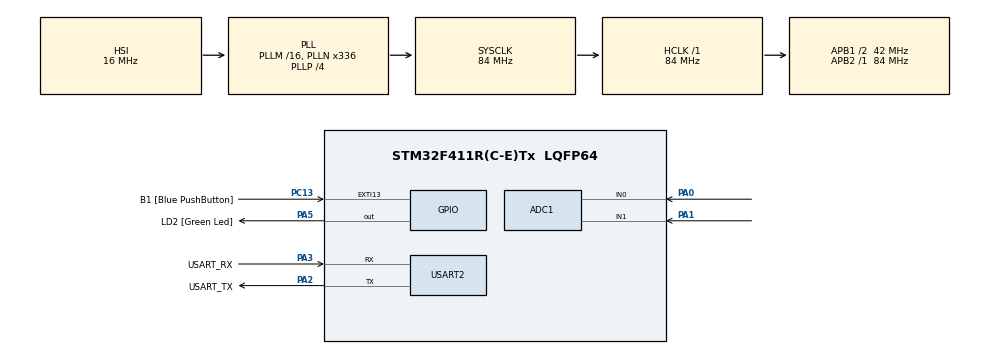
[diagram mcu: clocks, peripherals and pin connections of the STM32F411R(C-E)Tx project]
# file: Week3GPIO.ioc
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Mcu.Family=STM32F4
PC15-OSC32_OUT.Mode=LSE-External-Oscillator
RCC.CortexFreq_Value=84000000
ADC1.Rank-0\#ChannelRegularConversion=1
VP_ADC1_TempSens_Input.Mode=IN-TempSens
PC13-ANTI_TAMP.GPIO_Label=B1 [Blue PushButton]
PA14.GPIO_Label=TCK
PH1\ -\ OSC_OUT.Mode=HSE-External-Clock-Source
RCC.APB1CLKDivider=RCC_HCLK_DIV2
PC14-OSC32_IN.Signal=RCC_OSC32_IN
RCC.SYSCLKSource=RCC_SYSCLKSOURCE_PLLCLK
ProjectManager.StackSize=0x400
PA0-WKUP.Signal=ADCx_IN0
PA13.Signal=SYS_JTMS-SWDIO
PA3.Mode=Asynchronous
PH0\ -\ OSC_IN.Mode=HSE-External-Clock-Source
PH0\ -\ OSC_IN.Signal=RCC_OSC_IN
ProjectManager.TargetToolchain=STM32CubeIDE
RCC.HCLKFreq_Value=84000000
RCC.APB2TimFreq_Value=84000000
PC15-OSC32_OUT.Signal=RCC_OSC32_OUT
PA1.Signal=ADCx_IN1
RCC.AHBFreq_Value=84000000
PA5.Signal=GPIO_Output
ADC1.Channel-0\#ChannelRegularConversion=ADC_CHANNEL_0
RCC.HSE_VALUE=8000000
PH1\ -\ OSC_OUT.Signal=RCC_OSC_OUT
board=NUCLEO-F411RE
PC13-ANTI_TAMP.Signal=GPXTI13
RCC.VCOOutputFreq_Value=336000000
RCC.APB2Freq_Value=84000000
PC14-OSC32_IN.Mode=LSE-External-Oscillator
PA14.Mode=Serial_Wire
SH.ADCx_IN0.0=ADC1_IN0,IN0
PA13.Mode=Serial_Wire
Mcu.Name=STM32F411R(C-E)Tx
ADC1.SamplingTime-0\#ChannelRegularConversion=ADC_SAMPLETIME_3CYCLES
PA2.Signal=USART2_TX
PA13.GPIO_Label=TMS
RCC.FLatency-AdvancedSettings=FLASH_LATENCY_2
RCC.48MHZClocksFreq_Value=84000000
PB3.Signal=SYS_JTDO-SWO
RCC.SYSCLKFreq_VALUE=84000000
Mcu.Package=LQFP64
ADC1.master=1
PA5.GPIO_Label=LD2 [Green Led]
USART2.VirtualMode=VM_ASYNC
PC13-ANTI_TAMP.GPIO_ModeDefaultEXTI=GPIO_MODE_IT_FALLING
PA2.GPIO_Label=USART_TX
PA14.Signal=SYS_JTCK-SWCLK
ProjectManager.HeapSize=0x200
RCC.HSI_VALUE=16000000
RCC.PLLP=RCC_PLLP_DIV4
NVIC.PriorityGroup=NVIC_PRIORITYGROUP_0
ADC1.NbrOfConversionFlag=1
SH.ADCx_IN1.0=ADC1_IN1,IN1
RCC.PLLN=336
RCC.APB1TimFreq_Value=84000000
PA2.Mode=Asynchronous
RCC.APB1Freq_Value=42000000
PA3.GPIO_Label=USART_RX
PA3.Signal=USART2_RX
PB3.GPIO_Label=SWO

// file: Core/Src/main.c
/* USER CODE BEGIN Header */
/**
  ******************************************************************************
  * @file           : main.c
  * @brief          : Main program body
  ******************************************************************************
  * @attention
  *
  * <h2><center>&copy; Copyright (c) 2021 STMicroelectronics.
  * All rights reserved.</center></h2>
  *
  * This software component is licensed by ST under BSD 3-Clause license,
  * the "License"; You may not use this file except in compliance with the
  * License. You may obtain a copy of the License at:
  *                        opensource.org/licenses/BSD-3-Clause
  *
  ******************************************************************************
  */
/* USER CODE END Header */
#include "main.h"

ADC_HandleTypeDef hadc1;

UART_HandleTypeDef huart2;

/* USER CODE BEGIN PV */
typedef struct
{
	ADC_ChannelConfTypeDef Config;
	uint32_t Data;
} ADCStructure;

GPIO_PinState ButtonState[2] = {0};
ADCStructure ADCChannel[2] ={0};
float ADCOutputConverted = 0;
int ADCMode = 0;

/* USER CODE END PV */

void SystemClock_Config(void);
static void MX_GPIO_Init(void);
static void MX_USART2_UART_Init(void);
static void MX_ADC1_Init(void);
/* USER CODE BEGIN PFP */
void ADCPollingMethodInit();   //Init Config of ADC 3 Scouce
void ADCPollingMethodUpdate(int i); //Read ADC From 3 Source(In0,In1,Temp)
/* USER CODE END PFP */

int main(void)
{

  /* MCU Configuration--------------------------------------------------------*/

  /* Reset of all peripherals, Initializes the Flash interface and the Systick. */
  HAL_Init();

  /* Configure the system clock */
  SystemClock_Config();

  /* Initialize all configured peripherals */
  MX_GPIO_Init();
  MX_USART2_UART_Init();
  MX_ADC1_Init();
  /* USER CODE BEGIN 2 */
  ADCPollingMethodInit();

  float VoltageRef = 0;

  /* USER CODE END 2 */

  /* Infinite loop */
  /* USER CODE BEGIN WHILE */
  while (1)
  {
	  //Button Press
	  ButtonState[0] = HAL_GPIO_ReadPin(GPIOC, GPIO_PIN_13);
	  if(ButtonState[0] == GPIO_PIN_RESET && ButtonState[1] == GPIO_PIN_SET)
	  {
		  if(ADCMode == 1)
		  {
			  ADCMode = 0;
			  ADCChannel[1].Data = 0;
		  }
		  else
		  {
			  ADCMode = 1;
			  ADCChannel[0].Data = 0;
		  }
	  }
	  ButtonState[1] = ButtonState[0];
	  //read analog
	  ADCPollingMethodUpdate(ADCMode);
    /* USER CODE END WHILE */

    /* USER CODE BEGIN 3 */
	  //Voltage calculation from ADC resolution
	  VoltageRef = ADCChannel[ADCMode].Data *0.80566; //3300/4096
	  //Output
	  if(ADCMode == 0)
	  {
		  ADCOutputConverted = VoltageRef;
	  }
	  else
	  {
		  ADCOutputConverted = ((VoltageRef - 760.0)/2.5) + 25.0;
	  }
  }
  /* USER CODE END 3 */
}

void SystemClock_Config(void)
{
  RCC_OscInitTypeDef RCC_OscInitStruct = {0};
  RCC_ClkInitTypeDef RCC_ClkInitStruct = {0};

  /** Configure the main internal regulator output voltage
  */
  __HAL_RCC_PWR_CLK_ENABLE();
  __HAL_PWR_VOLTAGESCALING_CONFIG(PWR_REGULATOR_VOLTAGE_SCALE1);
  /** Initializes the RCC Oscillators according to the specified parameters
  * in the RCC_OscInitTypeDef structure.
  */
  RCC_OscInitStruct.OscillatorType = RCC_OSCILLATORTYPE_HSI;
  RCC_OscInitStruct.HSIState = RCC_HSI_ON;
  RCC_OscInitStruct.HSICalibrationValue = RCC_HSICALIBRATION_DEFAULT;
  RCC_OscInitStruct.PLL.PLLState = RCC_PLL_ON;
  RCC_OscInitStruct.PLL.PLLSource = RCC_PLLSOURCE_HSI;
  RCC_OscInitStruct.PLL.PLLM = 16;
  RCC_OscInitStruct.PLL.PLLN = 336;
  RCC_OscInitStruct.PLL.PLLP = RCC_PLLP_DIV4;
  RCC_OscInitStruct.PLL.PLLQ = 4;
  if (HAL_RCC_OscConfig(&RCC_OscInitStruct) != HAL_OK)
  {
    Error_Handler();
  }
  /** Initializes the CPU, AHB and APB buses clocks
  */
  RCC_ClkInitStruct.ClockType = RCC_CLOCKTYPE_HCLK|RCC_CLOCKTYPE_SYSCLK
                              |RCC_CLOCKTYPE_PCLK1|RCC_CLOCKTYPE_PCLK2;
  RCC_ClkInitStruct.SYSCLKSource = RCC_SYSCLKSOURCE_PLLCLK;
  RCC_ClkInitStruct.AHBCLKDivider = RCC_SYSCLK_DIV1;
  RCC_ClkInitStruct.APB1CLKDivider = RCC_HCLK_DIV2;
  RCC_ClkInitStruct.APB2CLKDivider = RCC_HCLK_DIV1;

  if (HAL_RCC_ClockConfig(&RCC_ClkInitStruct, FLASH_LATENCY_2) != HAL_OK)
  {
    Error_Handler();
  }
}

static void MX_ADC1_Init(void)
{

  ADC_ChannelConfTypeDef sConfig = {0};

  /** Configure the global features of the ADC (Clock, Resolution, Data Alignment and number of conversion)
  */
  hadc1.Instance = ADC1;
  hadc1.Init.ClockPrescaler = ADC_CLOCK_SYNC_PCLK_DIV4;
  hadc1.Init.Resolution = ADC_RESOLUTION_12B;
  hadc1.Init.ScanConvMode = DISABLE;
  hadc1.Init.ContinuousConvMode = DISABLE;
  hadc1.Init.DiscontinuousConvMode = DISABLE;
  hadc1.Init.ExternalTrigConvEdge = ADC_EXTERNALTRIGCONVEDGE_NONE;
  hadc1.Init.ExternalTrigConv = ADC_SOFTWARE_START;
  hadc1.Init.DataAlign = ADC_DATAALIGN_RIGHT;
  hadc1.Init.NbrOfConversion = 1;
  hadc1.Init.DMAContinuousRequests = DISABLE;
  hadc1.Init.EOCSelection = ADC_EOC_SINGLE_CONV;
  if (HAL_ADC_Init(&hadc1) != HAL_OK)
  {
    Error_Handler();
  }
  /** Configure for the selected ADC regular channel its corresponding rank in the sequencer and its sample time.
  */
  sConfig.Channel = ADC_CHANNEL_0;
  sConfig.Rank = 1;
  sConfig.SamplingTime = ADC_SAMPLETIME_3CYCLES;
  if (HAL_ADC_ConfigChannel(&hadc1, &sConfig) != HAL_OK)
  {
    Error_Handler();
  }

}

static void MX_USART2_UART_Init(void)
{

  huart2.Instance = USART2;
  huart2.Init.BaudRate = 115200;
  huart2.Init.WordLength = UART_WORDLENGTH_8B;
  huart2.Init.StopBits = UART_STOPBITS_1;
  huart2.Init.Parity = UART_PARITY_NONE;
  huart2.Init.Mode = UART_MODE_TX_RX;
  huart2.Init.HwFlowCtl = UART_HWCONTROL_NONE;
  huart2.Init.OverSampling = UART_OVERSAMPLING_16;
  if (HAL_UART_Init(&huart2) != HAL_OK)
  {
    Error_Handler();
  }

}

static void MX_GPIO_Init(void)
{
  GPIO_InitTypeDef GPIO_InitStruct = {0};

  /* GPIO Ports Clock Enable */
  __HAL_RCC_GPIOC_CLK_ENABLE();
  __HAL_RCC_GPIOH_CLK_ENABLE();
  __HAL_RCC_GPIOA_CLK_ENABLE();
  __HAL_RCC_GPIOB_CLK_ENABLE();

  /*Configure GPIO pin Output Level */
  HAL_GPIO_WritePin(LD2_GPIO_Port, LD2_Pin, GPIO_PIN_RESET);

  /*Configure GPIO pin : B1_Pin */
  GPIO_InitStruct.Pin = B1_Pin;
  GPIO_InitStruct.Mode = GPIO_MODE_IT_FALLING;
  GPIO_InitStruct.Pull = GPIO_NOPULL;
  HAL_GPIO_Init(B1_GPIO_Port, &GPIO_InitStruct);

  /*Configure GPIO pin : LD2_Pin */
  GPIO_InitStruct.Pin = LD2_Pin;
  GPIO_InitStruct.Mode = GPIO_MODE_OUTPUT_PP;
  GPIO_InitStruct.Pull = GPIO_NOPULL;
  GPIO_InitStruct.Speed = GPIO_SPEED_FREQ_LOW;
  HAL_GPIO_Init(LD2_GPIO_Port, &GPIO_InitStruct);

}

/* USER CODE BEGIN 4 */
void ADCPollingMethodInit()
{
	//PA0 - ADC IN0
	ADCChannel[0].Config.Channel = ADC_CHANNEL_0;
	ADCChannel[0].Config.Rank = 1;
	ADCChannel[0].Config.SamplingTime = ADC_SAMPLETIME_3CYCLES;
	//Temp
	ADCChannel[1].Config.Channel = ADC_CHANNEL_TEMPSENSOR;
	ADCChannel[1].Config.Rank = 1;
	ADCChannel[1].Config.SamplingTime = ADC_SAMPLETIME_3CYCLES;
}
void ADCPollingMethodUpdate(int i)
{
	//select channel
	HAL_ADC_ConfigChannel(&hadc1, &ADCChannel[i].Config);
	//ADC Sampling, Convert
	HAL_ADC_Start(&hadc1);
	//Wait ADC
	if(HAL_ADC_PollForConversion(&hadc1, 10) == HAL_OK)
	{
		//Get Value
		ADCChannel[i].Data = HAL_ADC_GetValue(&hadc1);
	}
	//Stop
	HAL_ADC_Stop(&hadc1);

}
/* USER CODE END 4 */

void Error_Handler(void)
{
  __disable_irq();
  while (1)
  {
  }
}

/************************ (C) COPYRIGHT STMicroelectronics *****END OF FILE****/
